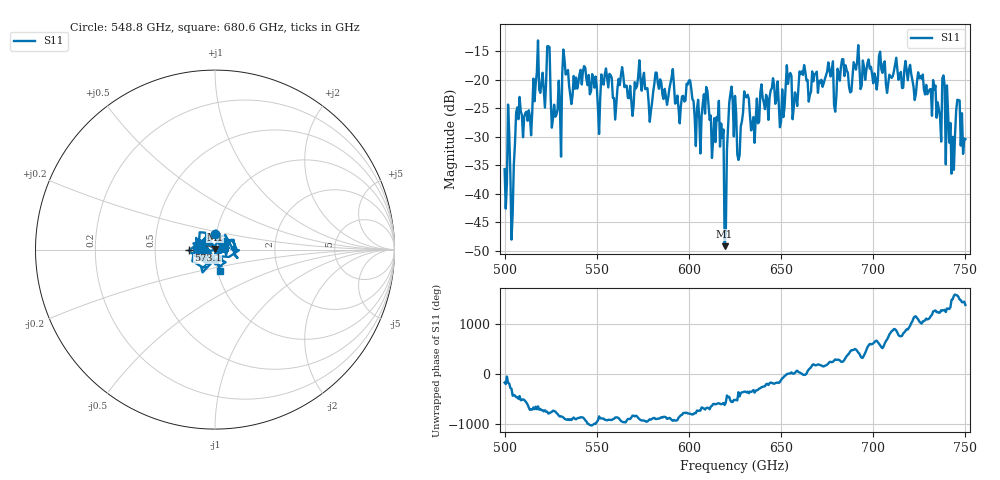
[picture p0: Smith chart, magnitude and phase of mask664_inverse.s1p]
!Created with skrf (http://scikit-rf.org).
# GHz S MA R 50.0
!freq magS11 angS11
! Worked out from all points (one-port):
!   401 points, 500 GHz to 750 GHz, reference 50 ohm
!   lowest |S11| = -49.2 dB at 619.4 GHz (marker M1), VSWR 1.01, Z = 49.9 + j0.339 ohm
!   |S11| at or under -10 dB: start of sweep to end of sweep
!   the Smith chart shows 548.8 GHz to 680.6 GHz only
!   S11 on the Smith chart (normalised r, x): 548.8 GHz: 0.98, +0.17; 573.1 GHz: 0.74, -0.01; 680.6 GHz: 1.03, -0.25
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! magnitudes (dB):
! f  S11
! 500 GHz  -35.7
! 504.4 GHz  -43.5
! 507.5 GHz  -26.9
! 513.8 GHz  -26.5
! 516.9 GHz  -20.6
! 523.8 GHz  -14.1
! 526.9 GHz  -24.4
! 531.2 GHz  -19.1
! 548.8 GHz  -21.4
! 562.5 GHz  -21.0
! 573.1 GHz  -16.6
! 593.8 GHz  -22.8
! 600 GHz  -20.2
! 605 GHz  -23.5
! 609.4 GHz  -21.3
! 617.5 GHz  -27.7
! 619.4 GHz  -49.2
! 622.5 GHz  -22.5
! 625 GHz  -22.9
! 627.5 GHz  -33.3
! 631.2 GHz  -23.1
! 635 GHz  -26.6
! 656.2 GHz  -26.9
! 680.6 GHz  -18.1
! 687.5 GHz  -22.2
! 718.8 GHz  -20.1
! 742.5 GHz  -36.5
! 750 GHz  -30.4
